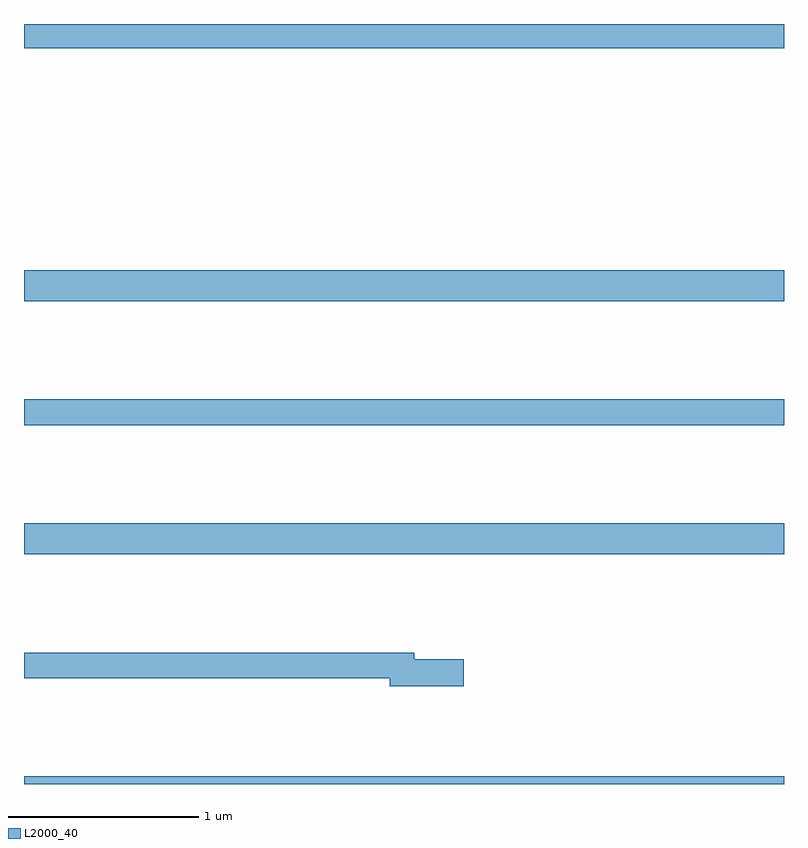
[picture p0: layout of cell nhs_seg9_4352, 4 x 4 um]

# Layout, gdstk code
import gdstk
lib = gdstk.Library(unit=1e-6, precision=1e-09)
def R(c, l, rs):  # rectangles x0, y0, x1, y1
    for r in rs: c.add(gdstk.rectangle(r[:2], r[2:], *l))
def P(c, l, *ps):  # polygons
    for p in ps: c.add(gdstk.Polygon(p, *l))
L2000_40 = (2000, 40)

nhs_seg9_4352 = lib.new_cell('nhs_seg9_4352')
R(nhs_seg9_4352, L2000_40, [(359,1240.5,363,1240.54), (359,1241.708,363,1241.872), (359,1242.388,363,1242.524), (359,1243.04,363,1243.204), (359,1244.372,363,1244.5)])
P(nhs_seg9_4352, L2000_40, [(361.315,1241.156),(361.054,1241.156),(361.054,1241.192),(359,1241.192),(359,1241.056),(360.926,1241.056),(360.926,1241.014),(361.315,1241.014)])

lib.write_gds('nhs_seg9_4352.gds')
